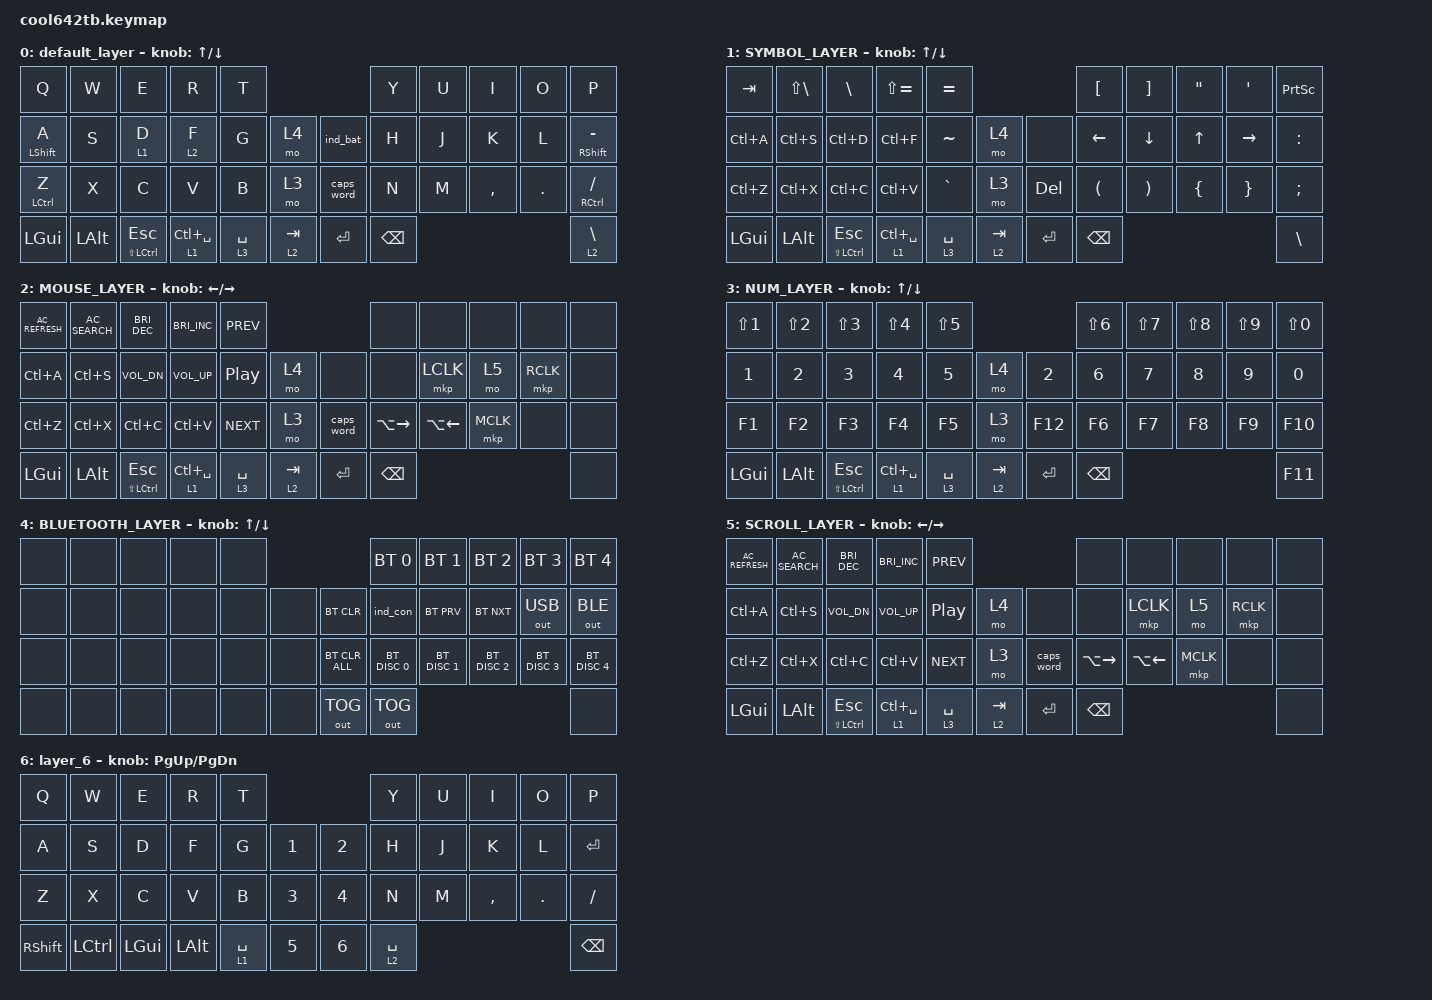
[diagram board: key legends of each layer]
#include <dt-bindings/zmk/mouse.h>
#include <behaviors.dtsi>
#include <dt-bindings/zmk/bt.h>
#include <dt-bindings/zmk/keys.h>
#include <dt-bindings/zmk/pointing.h>
#include <behaviors/rgbled_widget.dtsi> // RGB LED widget behavior
#include <dt-bindings/zmk/outputs.h> // OUT_TOG

#define SYMBOL_LAYER 1
#define MOUSE_LAYER 2
#define NUM_LAYER 3
#define BLUETOOTH_LAYER 4 
#define SCROLL_LAYER 5
#define ZMK_MOUSE_DEFAULT_SCRL_VAL 120 // スクロール量

&mt {
    flavor = "balanced";
    quick-tap-ms = <0>;
    tapping-term-ms = <150>; 
};

// / {
    // /*
    // combos {
    //     compatible = "zmk,combos";

    //     comb1 {
    //         bindings = <&kp TAB>;
    //         key-positions = <11 10>;
    //     };

    //     comb2 {
    //         bindings = <&kp LS(ESCAPE)>;
    //         key-positions = <0 1>;
    //     };

    //     comb3 {
    //         bindings = <&kp CAPSLOCK>;
    //         key-positions = <22 23>;
    //     };

    //     comb4 {
    //         bindings = <&kp BACKSPACE>;
    //         key-positions = <9 8>;
    //     };

    //     comb5 {
    //         bindings = <&bt BT_CLR_ALL>;
    //         key-positions = <9 8>;
    //         timeout-ms = <0>;
    //         layers = <4>;
    //     };
    // };

    // macros {
    //     to_layer_0: to_layer_0 {
    //         compatible = "zmk,behavior-macro-one-param";
    //         #binding-cells = <1>;
    //         bindings = <&to 0 &macro_param_1to1 &kp MACRO_PLACEHOLDER>;
    //         label = "TO_LAYER_0";
    //     };
    // };
    // */

/ {
    behaviors {
        scroll_up_down: behavior_sensor_rotate_mouse_wheel_up_down {
            compatible = "zmk,behavior-sensor-rotate";
            #sensor-binding-cells = <0>;
            bindings = <&msc SCRL_UP>, <&msc SCRL_DOWN>;
            tap-ms = <20>;
        };
        bt_switch: behavior_sensor_rotate_bt_switch {
            compatible = "zmk,behavior-sensor-rotate";
            label = "ENCODER_BT_SWITCH";
            #sensor-binding-cells = <0>;
            bindings = <&bt BT_PRV>, <&bt BT_NXT>;
            tap-ms = <60>;
        };
        // lt_to_layer_0: lt_to_layer_0 {
        //     compatible = "zmk,behavior-hold-tap";
        //     label = "LAYER_TAP_TO_0";
        //     bindings = <&mo>, <&to_layer_0>;

        //     #binding-cells = <2>;
        //     tapping-term-ms = <200>;
        // };
    };

    keymap {
        compatible = "zmk,keymap";

        default_layer {
            bindings = <
&kp Q               &kp W         &kp E                        &kp R            &kp T                               &kp Y          &kp U  &kp I      &kp O       &kp P
&mt LEFT_SHIFT A    &kp S         &lt 1 D                        &lt 2 F            &kp G        &mo 4      &ind_bat       &kp H          &kp J  &kp K      &kp L       &mt RIGHT_SHIFT MINUS
&mt LEFT_CONTROL Z  &kp X         &kp C                        &kp V            &kp B        &mo 3      &caps_word  &kp N          &kp M  &kp COMMA  &kp PERIOD  &mt RIGHT_CONTROL SLASH
&kp LEFT_GUI        &kp LEFT_ALT  &mt LS(LEFT_CONTROL) ESCAPE  &lt 1 LC(SPACE)  &lt 3 SPACE  &lt 2 TAB  &kp ENTER   &kp BACKSPACE                                &lt 2 BACKSLASH
            >;

            sensor-bindings = <&inc_dec_kp UP DOWN>;
        };

        SYMBOL_LAYER {
            bindings = <
&kp TAB       &kp LS(BACKSLASH)  &kp BACKSLASH                &kp LS(EQUAL)    &kp EQUAL                          &kp LBKT        &kp RBKT        &kp DQT         &kp SQT          &kp PRINTSCREEN
&kp LC(A)     &kp LC(S)          &kp LC(D)                    &kp LC(F)        &kp TILDE    &mo 4      &none      &kp LEFT_ARROW  &kp DOWN_ARROW  &kp UP_ARROW    &kp RIGHT_ARROW  &kp COLON
&kp LC(Z)     &kp LC(X)          &kp LC(C)                    &kp LC(V)        &kp GRAVE    &mo 3      &kp DEL    &kp LPAR        &kp RPAR        &kp LEFT_BRACE  &kp RBRC         &kp SEMICOLON
&kp LEFT_GUI  &kp LEFT_ALT       &mt LS(LEFT_CONTROL) ESCAPE  &lt 1 LC(SPACE)  &lt 3 SPACE  &lt 2 TAB  &kp ENTER  &kp BACKSPACE                                                    &kp BACKSLASH
            >;

            // sensor-bindings = <&scroll_up_down>;
            sensor-bindings = <&inc_dec_kp UP DOWN>;
        };

        MOUSE_LAYER {
            bindings = <
&kp C_AC_REFRESH  &kp C_AC_SEARCH  &kp C_BRIGHTNESS_DEC      &kp C_BRIGHTNESS_INC  &kp C_PREV                               &none                &none               &none      &none  &none
&kp LC(A)         &kp LC(S)        &kp C_VOL_DN              &kp C_VOL_UP          &kp C_PLAY_PAUSE  &mo 4      &none       &none                &mkp LCLK           &mo 5      &mkp RCLK     &none
&kp LC(Z)         &kp LC(X)        &kp LC(C)                 &kp LC(V)             &kp C_NEXT        &mo 3      &caps_word  &kp LA(RIGHT_ARROW)  &kp LA(LEFT_ARROW)  &mkp MCLK  &none         &none
&kp LEFT_GUI      &kp LEFT_ALT     &mt LS(LEFT_CONTROL) ESC  &lt 1 LC(SPACE)       &lt 3 SPACE       &lt 2 TAB  &kp ENTER   &kp BACKSPACE                                                     &none
            >;

            sensor-bindings = <&inc_dec_kp LEFT RIGHT>;
        };

        NUM_LAYER {
            bindings = <
&kp LS(N1)    &kp LS(N2)    &kp LS(N3)                &kp LS(N4)       &kp LS(N5)                         &kp LS(N6)     &kp LS(N7)  &kp LS(N8)  &kp LS(N9)  &kp LS(N0)
&kp N1        &kp N2        &kp N3                    &kp N4           &kp N5       &mo 4      &kp N2     &kp N6         &kp N7      &kp N8      &kp N9      &kp N0
&kp F1        &kp F2        &kp F3                    &kp F4           &kp F5       &mo 3      &kp F12    &kp F6         &kp F7      &kp F8      &kp F9      &kp F10
&kp LEFT_GUI  &kp LEFT_ALT  &mt LS(LEFT_CONTROL) ESC  &lt 1 LC(SPACE)  &lt 3 SPACE  &lt 2 TAB  &kp ENTER  &kp BACKSPACE                                      &kp F11
            >;

            // sensor-bindings = <&scroll_up_down>;
            sensor-bindings = <&inc_dec_kp UP DOWN>;
        };

        BLUETOOTH_LAYER {
            bindings = <
&none  &none  &none  &none  &none                         &bt BT_SEL 0   &bt BT_SEL 1   &bt BT_SEL 2   &bt BT_SEL 3   &bt BT_SEL 4
&none  &none  &none  &none  &none  &none  &bt BT_CLR      &ind_con       &bt BT_PRV     &bt BT_NXT     &out OUT_USB   &out OUT_BLE
&none  &none  &none  &none  &none  &none  &bt BT_CLR_ALL  &bt BT_DISC 0  &bt BT_DISC 1  &bt BT_DISC 2  &bt BT_DISC 3  &bt BT_DISC 4
&none  &none  &none  &none  &none  &none  &out OUT_TOG    &out OUT_TOG                                                   &none
            >;

            // sensor-bindings = <&bt_switch>;
            sensor-bindings = <&inc_dec_kp UP DOWN>;
        };

        SCROLL_LAYER {
            bindings = <
&kp C_AC_REFRESH  &kp C_AC_SEARCH  &kp C_BRIGHTNESS_DEC      &kp C_BRIGHTNESS_INC  &kp C_PREV                               &none                &none               &none      &none  &none
&kp LC(A)         &kp LC(S)        &kp C_VOL_DN              &kp C_VOL_UP          &kp C_PLAY_PAUSE  &mo 4      &none       &none                &mkp LCLK           &mo 5      &mkp RCLK     &none
&kp LC(Z)         &kp LC(X)        &kp LC(C)                 &kp LC(V)             &kp C_NEXT        &mo 3      &caps_word  &kp LA(RIGHT_ARROW)  &kp LA(LEFT_ARROW)  &mkp MCLK  &none         &none
&kp LEFT_GUI      &kp LEFT_ALT     &mt LS(LEFT_CONTROL) ESC  &lt 1 LC(SPACE)       &lt 3 SPACE       &lt 2 TAB  &kp ENTER   &kp BACKSPACE                                                     &none
            >;

            // sensor-bindings = <&scroll_up_down>;
            sensor-bindings = <&inc_dec_kp LEFT RIGHT>;
        };

        layer_6 {
            bindings = <
&kp Q       &kp W      &kp E     &kp R     &kp T                        &kp Y        &kp U  &kp I      &kp O       &kp P
&kp A       &kp S      &kp D     &kp F     &kp G        &kp N1  &kp N2  &kp H        &kp J  &kp K      &kp L       &kp ENTER
&kp Z       &kp X      &kp C     &kp V     &kp B        &kp N3  &kp N4  &kp N        &kp M  &kp COMMA  &kp PERIOD  &kp SLASH
&kp RSHIFT  &kp LCTRL  &kp LGUI  &kp LALT  &lt 1 SPACE  &kp N5  &kp N6  &lt 2 SPACE                                &kp BSPC
            >;

            sensor-bindings = <&inc_dec_kp PG_UP PAGE_DOWN>;
        };
    };
};
